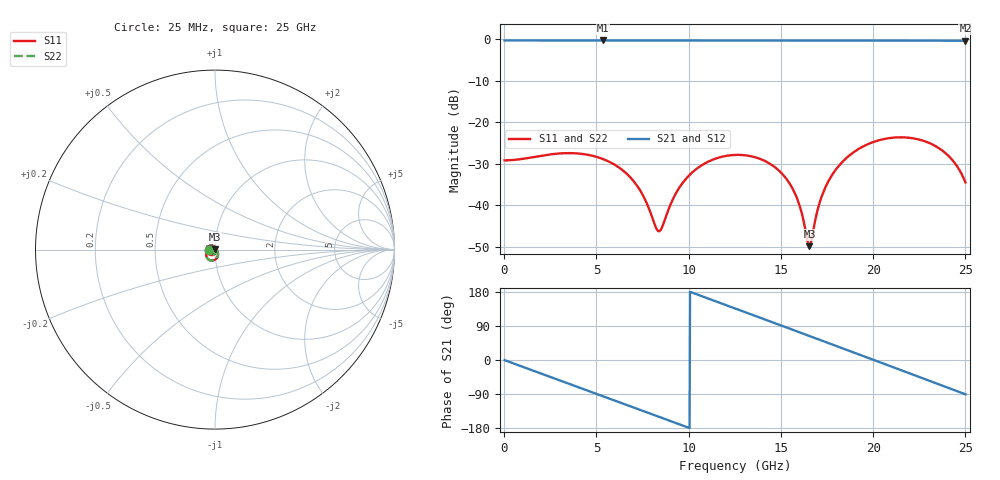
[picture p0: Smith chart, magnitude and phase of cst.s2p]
! thru_R_s4_L1: 2×thru, L1, 8 mm
! stackup: 4-layer 1.6 mm FR-4
! ports: 1, 2
! CST Studio Suite 2025.5 Release from 2025-05-30, time domain (FIT, hexahedral, PBA), 30429 mesh cells, 13 s
! mesh: {'lpw': 20, 'lpb': 20, 'minstep': 0.0, 'ratio': 20}; ports: port 1 (face); port 2 (face)
! interpolated from CST's 1001 samples to the case grid
# Hz S RI R 50
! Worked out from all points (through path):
!   1000 points, 25 MHz to 25 GHz, reference 50 ohm
!   highest |S21| = -0.30 dB at 5.375 GHz (marker M1); lowest = -0.4 dB at 25 GHz (marker M2)
!   group delay of S21, straight-line fit = 50 ps
!   lowest |S11| = -49.8 dB at 16.55 GHz (marker M3), VSWR 1.01, Z = 50.2 + j0.269 ohm
!   |S11| at or under -10 dB: start of sweep to end of sweep
!   |S22| runs from -49.8 to -23.6 dB; largest |S21 - S12| = 9.1e-07
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2.5e7  -0.0348 -4.12e-05  0.9652 -0.00751  0.9652 -0.00751  -0.0348 -4.12e-05
1.95e9  -0.0394 0.000212  0.793 -0.5505  0.793 -0.5505  -0.0394 0.000212
4.2e9  -0.0389 0.0151  0.2511 -0.9323  0.2511 -0.9323  -0.0389 0.0151
5.375e9  -0.0283 0.0223  -0.0995 -0.9604  -0.0995 -0.9604  -0.0283 0.0223
7.075e9  -0.00607 0.0179  -0.5718 -0.7779  -0.5718 -0.7779  -0.00607 0.0179
8.35e9  0.00462 0.00168  -0.8286 -0.495  -0.8286 -0.495  0.00462 0.00168
9.35e9  0.00398 -0.0139  -0.9405 -0.2159  -0.9405 -0.2159  0.00398 -0.0139
1.0075e10  -0.00175 -0.0235  -0.9647 0.00118  -0.9647 0.00118  -0.00175 -0.0235
1.1275e10  -0.0173 -0.0307  -0.8966 0.3551  -0.8966 0.3551  -0.0173 -0.0307
1.2525e10  -0.0325 -0.0241  -0.6926 0.6705  -0.6926 0.6705  -0.0325 -0.0241
1.4e10  -0.0349 -0.00516  -0.3197 0.9091  -0.3197 0.9091  -0.0349 -0.00516
1.5175e10  -0.0217 0.00627  0.0305 0.9629  0.0305 0.9629  -0.0217 0.00627
1.59e10  -0.00935 0.00708  0.2478 0.9308  0.2478 0.9308  -0.00935 0.00708
1.655e10  0.00181 0.00268  0.4322 0.8607  0.4322 0.8607  0.00181 0.00268
1.6675e10  0.00378 0.00129  0.4658 0.8429  0.4658 0.8429  0.00378 0.00129
1.7225e10  0.0112 -0.0067  0.6045 0.7495  0.6045 0.7495  0.0112 -0.0067
1.8025e10  0.0167 -0.0223  0.7727 0.5741  0.7727 0.5741  0.0167 -0.0223
1.945e10  0.00685 -0.0506  0.9451 0.1792  0.9451 0.1792  0.00685 -0.0506
2.085e10  -0.0208 -0.061  0.9293 -0.2444  0.9293 -0.2444  -0.0208 -0.061
2.335e10  -0.0475 -0.0216  0.475 -0.8332  0.475 -0.8332  -0.0475 -0.0216
2.4275e10  -0.0353 -0.00419  0.2122 -0.9348  0.2122 -0.9348  -0.0353 -0.00419
2.5e10  -0.0187 0.00275  -0.00788 -0.9583  -0.00788 -0.9583  -0.0187 0.00275
